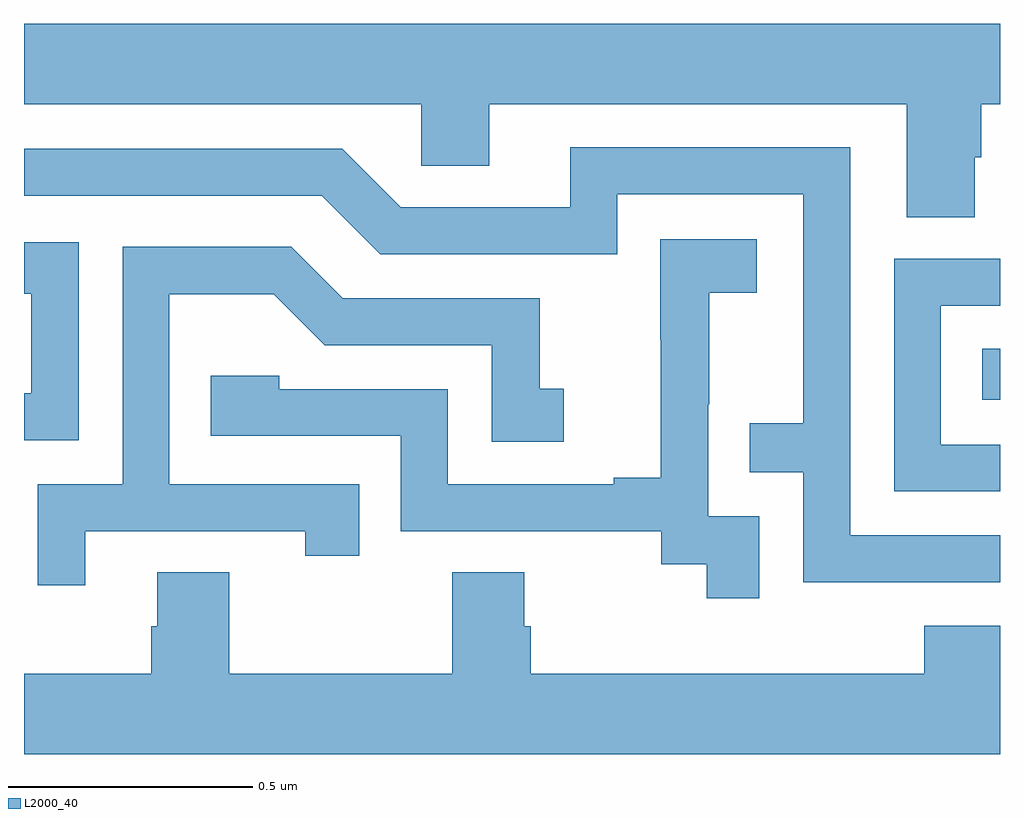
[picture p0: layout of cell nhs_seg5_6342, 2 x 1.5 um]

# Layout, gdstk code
import gdstk
lib = gdstk.Library(unit=1e-6, precision=1e-09)
def R(c, l, rs):  # rectangles x0, y0, x1, y1
    for r in rs: c.add(gdstk.rectangle(r[:2], r[2:], *l))
def P(c, l, *ps):  # polygons
    for p in ps: c.add(gdstk.Polygon(p, *l))
L2000_40 = (2000, 40)

nhs_seg5_6342 = lib.new_cell('nhs_seg5_6342')
R(nhs_seg5_6342, L2000_40, [(195.964,906.77,196,906.874)])
P(nhs_seg5_6342, L2000_40, [(194,907.376),(194.814,907.376),(194.814,907.249),(194.953,907.249),(194.953,907.376),(195.809,907.376),(195.809,907.144),(195.948,907.144),(195.948,907.267),(195.962,907.267),(195.962,907.376),(196,907.376),(196,907.54),(194,907.54)],
  [(196,906.492),(195.693,906.492),(195.693,907.287),(195.119,907.287),(195.119,907.164),(194.772,907.164),(194.652,907.284),(194,907.284),(194,907.188),(194.61,907.188),(194.73,907.068),(195.216,907.068),(195.216,907.191),(195.597,907.191),(195.597,906.722),(195.487,906.722),(195.487,906.621),(195.597,906.621),(195.597,906.396),(196,906.396)],
  [(195.507,906.531),(195.402,906.531),(195.402,906.761),(195.404,906.761),(195.404,906.989),(195.502,906.989),(195.502,907.099),(195.304,907.099),(195.304,906.893),(195.305,906.893),(195.305,906.61),(195.209,906.61),(195.209,906.597),(194.868,906.597),(194.868,906.792),(194.523,906.792),(194.523,906.819),(194.383,906.819),(194.383,906.696),(194.772,906.696),(194.772,906.501),(195.306,906.501),(195.306,906.433),(195.399,906.433),(195.399,906.363),(195.507,906.363)],
  [(194.112,907.093),(194,907.093),(194,906.987),(194.015,906.987),(194.015,906.783),(194,906.783),(194,906.687),(194.112,906.687)],
  [(194.125,906.501),(194.576,906.501),(194.576,906.45),(194.687,906.45),(194.687,906.597),(194.298,906.597),(194.298,906.986),(194.512,906.986),(194.616,906.882),(194.958,906.882),(194.958,906.684),(195.106,906.684),(195.106,906.793),(195.057,906.793),(195.057,906.978),(194.653,906.978),(194.548,907.083),(194.202,907.083),(194.202,906.597),(194.028,906.597),(194.028,906.39),(194.125,906.39)],
  [(196,906.678),(195.879,906.678),(195.879,906.963),(196,906.963),(196,907.059),(195.783,907.059),(195.783,906.582),(196,906.582)],
  [(196,906.307),(195.845,906.307),(195.845,906.208),(195.038,906.208),(195.038,906.306),(195.025,906.306),(195.025,906.416),(194.878,906.416),(194.878,906.208),(194.421,906.208),(194.421,906.416),(194.273,906.416),(194.273,906.306),(194.261,906.306),(194.261,906.208),(194,906.208),(194,906.044),(196,906.044)])

lib.write_gds('nhs_seg5_6342.gds')
